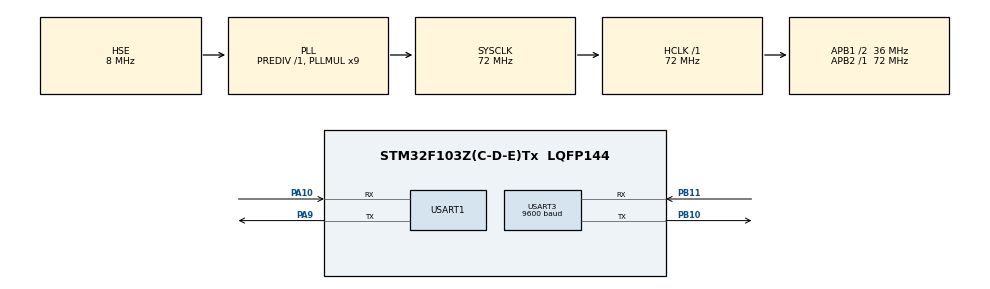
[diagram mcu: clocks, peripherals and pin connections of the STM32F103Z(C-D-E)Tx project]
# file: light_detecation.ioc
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Mcu.Family=STM32F1
Mcu.Name=STM32F103Z(C-D-E)Tx
Mcu.Package=LQFP144
NVIC.PriorityGroup=NVIC_PRIORITYGROUP_4
NVIC.USART3_IRQn=true\:0\:0\:false\:false\:true\:true\:true\:true
OSC_IN.Mode=HSE-External-Oscillator
OSC_IN.Signal=RCC_OSC_IN
OSC_OUT.Mode=HSE-External-Oscillator
OSC_OUT.Signal=RCC_OSC_OUT
PA10.Mode=Asynchronous
PA10.Signal=USART1_RX
PA13.Mode=Serial_Wire
PA13.Signal=SYS_JTMS-SWDIO
PA14.Mode=Serial_Wire
PA14.Signal=SYS_JTCK-SWCLK
PA9.Mode=Asynchronous
PA9.Signal=USART1_TX
PB10.Mode=Asynchronous
PB10.Signal=USART3_TX
PB11.Mode=Asynchronous
PB11.Signal=USART3_RX
ProjectManager.HeapSize=0x200
ProjectManager.StackSize=0x400
ProjectManager.TargetToolchain=MDK-ARM V5.32
RCC.AHBFreq_Value=72000000
RCC.APB1CLKDivider=RCC_HCLK_DIV2
RCC.APB1Freq_Value=36000000
RCC.APB1TimFreq_Value=72000000
RCC.APB2Freq_Value=72000000
RCC.APB2TimFreq_Value=72000000
RCC.HCLKFreq_Value=72000000
RCC.PLLMUL=RCC_PLL_MUL9
RCC.PLLSourceVirtual=RCC_PLLSOURCE_HSE
RCC.SYSCLKFreq_VALUE=72000000
RCC.SYSCLKSource=RCC_SYSCLKSOURCE_PLLCLK
RCC.USBFreq_Value=72000000
USART1.VirtualMode=VM_ASYNC
USART3.BaudRate=9600
USART3.VirtualMode=VM_ASYNC
board=custom

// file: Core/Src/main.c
/* USER CODE BEGIN Header */
/**
  ******************************************************************************
  * @file           : main.c
  * @brief          : Main program body
  ******************************************************************************
  * @attention
  *
  * Copyright (c) 2025 STMicroelectronics.
  * All rights reserved.
  *
  * This software is licensed under terms that can be found in the LICENSE file
  * in the root directory of this software component.
  * If no LICENSE file comes with this software, it is provided AS-IS.
  *
  ******************************************************************************
  */
/* USER CODE END Header */
#include "main.h"
#include "usart.h"
#include "gpio.h"

/* USER CODE BEGIN Includes */
#include <string.h>
#include <stdlib.h>
#include <stdio.h>
/* USER CODE END Includes */

/* USER CODE BEGIN PD */
#define RX_BUF_SIZE 64
/* USER CODE END PD */

/* USER CODE BEGIN PV */
uint8_t rx_buf[RX_BUF_SIZE];
uint8_t rx_data;
uint8_t rx_index = 0;
volatile uint8_t rx_ready = 0;
uint32_t light_value = 0;
/* USER CODE END PV */

void SystemClock_Config(void);
/* USER CODE BEGIN PFP */
void process_light_data() {
    if (rx_ready) {
        rx_ready = 0;

        char *ptr = strstr((char *)rx_buf, "Light:");
        if (ptr) {
            ptr += 6; // 跳过 "Light:"
						light_value = atoi(ptr);

						// 发送到上位机
						char tx_buf[64];
						int len = snprintf(tx_buf, sizeof(tx_buf), "%u\n", light_value);
						HAL_UART_Transmit(&huart1, (uint8_t *)tx_buf, len, HAL_MAX_DELAY);
        }

        // 清空缓存，准备下一轮
        memset(rx_buf, 0, RX_BUF_SIZE);
        rx_index = 0;
    }
}
/* USER CODE END PFP */

int main(void)
{

  /* MCU Configuration--------------------------------------------------------*/

  /* Reset of all peripherals, Initializes the Flash interface and the Systick. */
  HAL_Init();

  /* Configure the system clock */
  SystemClock_Config();

  /* Initialize all configured peripherals */
  MX_GPIO_Init();
  MX_USART1_UART_Init();
  MX_USART3_UART_Init();
  /* USER CODE BEGIN 2 */
	HAL_UART_Receive_IT(&huart3, &rx_data, 1);  // 启动中断接收
  /* USER CODE END 2 */

  /* Infinite loop */
  /* USER CODE BEGIN WHILE */
  while (1)
  {
		process_light_data();
    /* USER CODE END WHILE */

  }
}

void SystemClock_Config(void)
{
  RCC_OscInitTypeDef RCC_OscInitStruct = {0};
  RCC_ClkInitTypeDef RCC_ClkInitStruct = {0};

  /** Initializes the RCC Oscillators according to the specified parameters
  * in the RCC_OscInitTypeDef structure.
  */
  RCC_OscInitStruct.OscillatorType = RCC_OSCILLATORTYPE_HSE;
  RCC_OscInitStruct.HSEState = RCC_HSE_ON;
  RCC_OscInitStruct.HSEPredivValue = RCC_HSE_PREDIV_DIV1;
  RCC_OscInitStruct.HSIState = RCC_HSI_ON;
  RCC_OscInitStruct.PLL.PLLState = RCC_PLL_ON;
  RCC_OscInitStruct.PLL.PLLSource = RCC_PLLSOURCE_HSE;
  RCC_OscInitStruct.PLL.PLLMUL = RCC_PLL_MUL9;
  if (HAL_RCC_OscConfig(&RCC_OscInitStruct) != HAL_OK)
  {
    Error_Handler();
  }

  /** Initializes the CPU, AHB and APB buses clocks
  */
  RCC_ClkInitStruct.ClockType = RCC_CLOCKTYPE_HCLK|RCC_CLOCKTYPE_SYSCLK
                              |RCC_CLOCKTYPE_PCLK1|RCC_CLOCKTYPE_PCLK2;
  RCC_ClkInitStruct.SYSCLKSource = RCC_SYSCLKSOURCE_PLLCLK;
  RCC_ClkInitStruct.AHBCLKDivider = RCC_SYSCLK_DIV1;
  RCC_ClkInitStruct.APB1CLKDivider = RCC_HCLK_DIV2;
  RCC_ClkInitStruct.APB2CLKDivider = RCC_HCLK_DIV1;

  if (HAL_RCC_ClockConfig(&RCC_ClkInitStruct, FLASH_LATENCY_2) != HAL_OK)
  {
    Error_Handler();
  }
}

/* USER CODE BEGIN 4 */
void HAL_UART_RxCpltCallback(UART_HandleTypeDef *huart) {
    if (huart->Instance == USART3) {
        if (rx_data != '\n' && rx_index < RX_BUF_SIZE - 1) {
            rx_buf[rx_index++] = rx_data;
        } else {
            rx_buf[rx_index] = '\0';  // 结束符
            rx_ready = 1;
        }
        HAL_UART_Receive_IT(&huart3, &rx_data, 1);  // 重启接收中断
    }
}
/* USER CODE END 4 */

void Error_Handler(void)
{
  __disable_irq();
  while (1)
  {
  }
}
